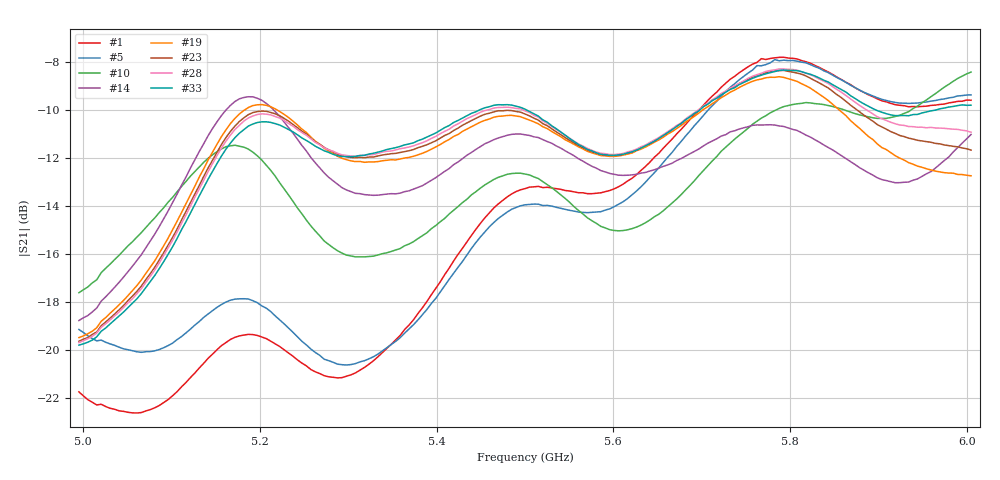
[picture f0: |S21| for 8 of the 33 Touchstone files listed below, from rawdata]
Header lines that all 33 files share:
!File created by NanoVNA
# Hz S RI R 50
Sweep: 4.995 GHz to 6.005 GHz
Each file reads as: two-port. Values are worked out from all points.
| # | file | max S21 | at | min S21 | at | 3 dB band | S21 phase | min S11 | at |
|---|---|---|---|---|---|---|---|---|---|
| 1 | V3.5.s2p | -7.78 dB | 5.793 GHz | -22.6 dB | 5.061 GHz | 5.682 GHz-6.005 GHz | -160 deg at 5.5 GHz | -8.8 dB | 5.944 GHz |
| 2 | V4.5.s2p | -7.87 dB | 5.793 GHz | -21.1 dB | 5.066 GHz | 5.687 GHz-6.005 GHz | -149 deg at 5.5 GHz | -8.8 dB | 5.944 GHz |
| 3 | V4.s2p | -7.79 dB | 5.788 GHz | -21.8 dB | 5.066 GHz | 5.682 GHz-6.005 GHz | -154 deg at 5.5 GHz | -8.7 dB | 5.939 GHz |
| 4 | V5.5.s2p | -8.05 dB | 5.793 GHz | -20.0 dB | 5.303 GHz | 5.692 GHz-6.005 GHz | -133 deg at 5.5 GHz | -8.8 dB | 5.965 GHz |
| 5 | V5.s2p | -7.88 dB | 5.783 GHz | -20.6 dB | 5.298 GHz | 5.687 GHz-6.005 GHz | -141 deg at 5.5 GHz | -8.7 dB | 5.939 GHz |
| 6 | V6.5.s2p | -8.43 dB | 5.803 GHz | -18.6 dB | 5.303 GHz | 5.702 GHz-6.005 GHz | -109 deg at 5.5 GHz | -8.7 dB | 5.98 GHz |
| 7 | V6.s2p | -8.17 dB | 5.803 GHz | -19.5 dB | 5.303 GHz | 5.697 GHz-6.005 GHz | -122 deg at 5.5 GHz | -8.6 dB | 5.965 GHz |
| 8 | V7.s2p | -8.70 dB | 5.818 GHz | -17.8 dB | 5.308 GHz | 5.702 GHz-6.005 GHz | -90 deg at 5.5 GHz | -8.7 dB | 5.753 GHz |
| 9 | V8.5.s2p | -8.59 dB | 6.005 GHz | -18.0 dB | 4.995 GHz | 5.737 GHz-6.005 GHz | -30 deg at 5.5 GHz | -9.1 dB | 5.778 GHz |
| 10 | V8.s2p | -8.40 dB | 6.005 GHz | -17.6 dB | 4.995 GHz | 5.732 GHz-6.005 GHz | -48 deg at 5.5 GHz | -9.2 dB | 5.753 GHz |
| 11 | V9.5.s2p | -9.62 dB | 5.187 GHz | -18.6 dB | 4.995 GHz | 5.677 GHz-6.005 GHz | -0 deg at 5.5 GHz | -8.9 dB | 5.813 GHz |
| 12 | V9.s2p | -9.10 dB | 6.005 GHz | -18.3 dB | 4.995 GHz | 5.717 GHz-6.005 GHz | -12 deg at 5.5 GHz | -9.1 dB | 5.793 GHz |
| 13 | V10.5.s2p | -9.41 dB | 5.187 GHz | -19.0 dB | 4.995 GHz | 5.611 GHz-5.874 GHz | 16 deg at 5.5 GHz | -8.6 dB | 5.859 GHz |
| 14 | V10.s2p | -9.43 dB | 5.187 GHz | -18.8 dB | 4.995 GHz | 5.652 GHz-5.879 GHz | 9 deg at 5.5 GHz | -8.7 dB | 5.838 GHz |
| 15 | V11.5.s2p | -9.42 dB | 5.773 GHz | -19.2 dB | 4.995 GHz | 5.384 GHz-5.889 GHz | 27 deg at 5.5 GHz | -8.5 dB | 5.894 GHz |
| 16 | V11.s2p | -9.38 dB | 5.192 GHz | -19.1 dB | 4.995 GHz | 5.394 GHz-5.884 GHz | 22 deg at 5.5 GHz | -8.5 dB | 5.864 GHz |
| 17 | V12.5.s2p | -8.91 dB | 5.773 GHz | -19.4 dB | 4.995 GHz | 5.616 GHz-5.894 GHz | 34 deg at 5.5 GHz | -8.6 dB | 5.929 GHz |
| 18 | V12.s2p | -9.10 dB | 5.773 GHz | -19.3 dB | 4.995 GHz | 5.389 GHz-5.889 GHz | 31 deg at 5.5 GHz | -8.4 dB | 5.929 GHz |
| 19 | V13.5.s2p | -8.59 dB | 5.788 GHz | -19.5 dB | 4.995 GHz | 5.636 GHz-5.904 GHz | 39 deg at 5.5 GHz | -8.4 dB | 5.939 GHz |
| 20 | V13.s2p | -8.71 dB | 5.788 GHz | -19.4 dB | 4.995 GHz | 5.626 GHz-5.899 GHz | 37 deg at 5.5 GHz | -8.3 dB | 5.914 GHz |
| 21 | V14.5.s2p | -8.44 dB | 5.788 GHz | -19.6 dB | 4.995 GHz | 5.641 GHz-5.919 GHz | 43 deg at 5.5 GHz | -8.4 dB | 5.717 GHz |
| 22 | V14.s2p | -8.47 dB | 5.788 GHz | -19.5 dB | 4.995 GHz | 5.641 GHz-5.909 GHz | 41 deg at 5.5 GHz | -8.2 dB | 5.965 GHz |
| 23 | V15.5.s2p | -8.33 dB | 5.793 GHz | -19.6 dB | 4.995 GHz | 5.646 GHz-5.96 GHz | 45 deg at 5.5 GHz | -8.6 dB | 5.717 GHz |
| 24 | V15.s2p | -8.35 dB | 5.793 GHz | -19.6 dB | 4.995 GHz | 5.646 GHz-5.934 GHz | 45 deg at 5.5 GHz | -8.3 dB | 5.732 GHz |
| 25 | V16.5.s2p | -8.30 dB | 5.788 GHz | -19.7 dB | 4.995 GHz | 5.646 GHz-6.005 GHz | 48 deg at 5.5 GHz | -8.7 dB | 5.717 GHz |
| 26 | V16.s2p | -8.27 dB | 5.793 GHz | -19.6 dB | 4.995 GHz | 5.646 GHz-5.99 GHz | 48 deg at 5.5 GHz | -8.5 dB | 5.717 GHz |
| 27 | V17.5.s2p | -8.29 dB | 5.788 GHz | -19.7 dB | 4.995 GHz | 5.646 GHz-6.005 GHz | 50 deg at 5.5 GHz | -8.9 dB | 5.712 GHz |
| 28 | V17.s2p | -8.27 dB | 5.788 GHz | -19.7 dB | 4.995 GHz | 5.646 GHz-6.005 GHz | 50 deg at 5.5 GHz | -8.7 dB | 5.722 GHz |
| 29 | V18.5.s2p | -8.28 dB | 5.793 GHz | -19.8 dB | 4.995 GHz | 5.646 GHz-6.005 GHz | 52 deg at 5.5 GHz | -9.0 dB | 5.722 GHz |
| 30 | V18.s2p | -8.25 dB | 5.793 GHz | -19.7 dB | 4.995 GHz | 5.646 GHz-6.005 GHz | 51 deg at 5.5 GHz | -8.9 dB | 5.722 GHz |
| 31 | V19.5.s2p | -8.31 dB | 5.793 GHz | -19.8 dB | 4.995 GHz | 5.646 GHz-6.005 GHz | 54 deg at 5.5 GHz | -9.1 dB | 5.737 GHz |
| 32 | V19.s2p | -8.27 dB | 5.798 GHz | -19.7 dB | 4.995 GHz | 5.646 GHz-6.005 GHz | 54 deg at 5.5 GHz | -9.1 dB | 5.732 GHz |
| 33 | V20.5.s2p | -8.32 dB | 5.793 GHz | -19.8 dB | 4.995 GHz | 5.646 GHz-6.005 GHz | 54 deg at 5.5 GHz | -9.3 dB | 5.732 GHz |
